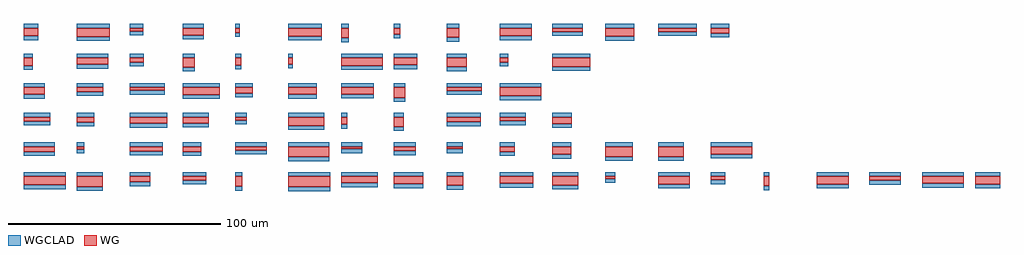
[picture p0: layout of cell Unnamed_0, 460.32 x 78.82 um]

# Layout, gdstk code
import gdstk
lib = gdstk.Library(unit=1e-6, precision=1e-09)
def R(c, l, rs):  # rectangles x0, y0, x1, y1
    for r in rs: c.add(gdstk.rectangle(r[:2], r[2:], *l))
WG = (1, 0)
WGCLAD = (111, 0)

straight_cssym_f7fe636c_ = lib.new_cell('straight_CSsym_f7fe636c_2326_L8690')
R(straight_cssym_f7fe636c_, WG, [(0,-1.163,8.69,1.163)])
R(straight_cssym_f7fe636c_, WGCLAD, [(0,-3.163,8.69,-1.163), (0,1.163,8.69,3.163)])

c_straight_cssym_f7fe636c_ = lib.new_cell('straight_CSsym_f7fe636c_1686_L18151')
R(c_straight_cssym_f7fe636c_, WG, [(0,-0.843,18.151,0.843)])
R(c_straight_cssym_f7fe636c_, WGCLAD, [(0,-2.843,18.151,-0.843), (0,0.843,18.151,2.843)])

c_straight_cssym_f7fe636c__ = lib.new_cell('straight_CSsym_f7fe636c_3872_L13737')
R(c_straight_cssym_f7fe636c__, WG, [(0,-1.936,13.737,1.936)])
R(c_straight_cssym_f7fe636c__, WGCLAD, [(0,-3.936,13.737,-1.936), (0,1.936,13.737,3.936)])

c_straight_cssym_f7fe636c___ = lib.new_cell('straight_CSsym_f7fe636c_1618_L14330')
R(c_straight_cssym_f7fe636c___, WG, [(0,-0.809,14.33,0.809)])
R(c_straight_cssym_f7fe636c___, WGCLAD, [(0,-2.809,14.33,-0.809), (0,0.809,14.33,2.809)])

c_straight_cssym_f7fe636c____ = lib.new_cell('straight_CSsym_f7fe636c_3650_L15184')
R(c_straight_cssym_f7fe636c____, WG, [(0,-1.825,15.184,1.825)])
R(c_straight_cssym_f7fe636c____, WGCLAD, [(0,-3.825,15.184,-1.825), (0,1.825,15.184,3.825)])

c_straight_cssym_f7fe636c_____ = lib.new_cell('straight_CSsym_f7fe636c_4304_L5908')
R(c_straight_cssym_f7fe636c_____, WG, [(0,-2.152,5.908,2.152)])
R(c_straight_cssym_f7fe636c_____, WGCLAD, [(0,-4.152,5.908,-2.152), (0,2.152,5.908,4.152)])

c_straight_cssym_f7fe636c______ = lib.new_cell('straight_CSsym_f7fe636c_2752_L3083')
R(c_straight_cssym_f7fe636c______, WG, [(0,-1.376,3.083,1.376)])
R(c_straight_cssym_f7fe636c______, WGCLAD, [(0,-3.376,3.083,-1.376), (0,1.376,3.083,3.376)])

c_straight_cssym_f7fe636c_______ = lib.new_cell('straight_CSsym_f7fe636c_4622_L3591')
R(c_straight_cssym_f7fe636c_______, WG, [(0,-2.311,3.591,2.311)])
R(c_straight_cssym_f7fe636c_______, WGCLAD, [(0,-4.311,3.591,-2.311), (0,2.311,3.591,4.311)])

c_straight_cssym_f7fe636c________ = lib.new_cell('straight_CSsym_f7fe636c_3716_L15720')
R(c_straight_cssym_f7fe636c________, WG, [(0,-1.858,15.72,1.858)])
R(c_straight_cssym_f7fe636c________, WGCLAD, [(0,-3.858,15.72,-1.858), (0,1.858,15.72,3.858)])

c_straight_cssym_f7fe636c_________ = lib.new_cell('straight_CSsym_f7fe636c_2152_L2047')
R(c_straight_cssym_f7fe636c_________, WG, [(0,-1.076,2.047,1.076)])
R(c_straight_cssym_f7fe636c_________, WGCLAD, [(0,-3.076,2.047,-1.076), (0,1.076,2.047,3.076)])

c_straight_cssym_f7fe636c__________ = lib.new_cell('straight_CSsym_f7fe636c_3236_L10107')
R(c_straight_cssym_f7fe636c__________, WG, [(0,-1.618,10.107,1.618)])
R(c_straight_cssym_f7fe636c__________, WGCLAD, [(0,-3.618,10.107,-1.618), (0,1.618,10.107,3.618)])

c_straight_cssym_f7fe636c___________ = lib.new_cell('straight_CSsym_f7fe636c_1362_L6302')
R(c_straight_cssym_f7fe636c___________, WG, [(0,-0.681,6.302,0.681)])
R(c_straight_cssym_f7fe636c___________, WGCLAD, [(0,-2.681,6.302,-0.681), (0,0.681,6.302,2.681)])

c_straight_cssym_f7fe636c____________ = lib.new_cell('straight_CSsym_f7fe636c_4024_L15525')
R(c_straight_cssym_f7fe636c____________, WG, [(0,-2.012,15.525,2.012)])
R(c_straight_cssym_f7fe636c____________, WGCLAD, [(0,-4.012,15.525,-2.012), (0,2.012,15.525,4.012)])

c_straight_cssym_f7fe636c_____________ = lib.new_cell('straight_CSsym_f7fe636c_3684_L6605')
R(c_straight_cssym_f7fe636c_____________, WG, [(0,-1.842,6.605,1.842)])
R(c_straight_cssym_f7fe636c_____________, WGCLAD, [(0,-3.842,6.605,-1.842), (0,1.842,6.605,3.842)])

c_straight_cssym_f7fe636c______________ = lib.new_cell('straight_CSsym_f7fe636c_4208_L17797')
R(c_straight_cssym_f7fe636c______________, WG, [(0,-2.104,17.797,2.104)])
R(c_straight_cssym_f7fe636c______________, WGCLAD, [(0,-4.104,17.797,-2.104), (0,2.104,17.797,4.104)])

c_straight_cssym_f7fe636c_______________ = lib.new_cell('straight_CSsym_f7fe636c_2086_L4031')
R(c_straight_cssym_f7fe636c_______________, WG, [(0,-1.043,4.031,1.043)])
R(c_straight_cssym_f7fe636c_______________, WGCLAD, [(0,-3.043,4.031,-1.043), (0,1.043,4.031,3.043)])

c_straight_cssym_f7fe636c________________ = lib.new_cell('straight_CSsym_f7fe636c_4280_L9495')
R(c_straight_cssym_f7fe636c________________, WG, [(0,-2.14,9.495,2.14)])
R(c_straight_cssym_f7fe636c________________, WGCLAD, [(0,-4.14,9.495,-2.14), (0,2.14,9.495,4.14)])

c_straight_cssym_f7fe636c_________________ = lib.new_cell('straight_CSsym_f7fe636c_3292_L10967')
R(c_straight_cssym_f7fe636c_________________, WG, [(0,-1.646,10.967,1.646)])
R(c_straight_cssym_f7fe636c_________________, WGCLAD, [(0,-3.646,10.967,-1.646), (0,1.646,10.967,3.646)])

c_straight_cssym_f7fe636c__________________ = lib.new_cell('straight_CSsym_f7fe636c_3656_L19746')
R(c_straight_cssym_f7fe636c__________________, WG, [(0,-1.828,19.746,1.828)])
R(c_straight_cssym_f7fe636c__________________, WGCLAD, [(0,-3.828,19.746,-1.828), (0,1.828,19.746,3.828)])

c_straight_cssym_f7fe636c___________________ = lib.new_cell('straight_CSsym_f7fe636c_2990_L2232')
R(c_straight_cssym_f7fe636c___________________, WG, [(0,-1.495,2.232,1.495)])
R(c_straight_cssym_f7fe636c___________________, WGCLAD, [(0,-3.495,2.232,-1.495), (0,1.495,2.232,3.495)])

c_straight_cssym_f7fe636c____________________ = lib.new_cell('straight_CSsym_f7fe636c_2294_L7191')
R(c_straight_cssym_f7fe636c____________________, WG, [(0,-1.147,7.191,1.147)])
R(c_straight_cssym_f7fe636c____________________, WGCLAD, [(0,-3.147,7.191,-1.147), (0,1.147,7.191,3.147)])

c_straight_cssym_f7fe636c_____________________ = lib.new_cell('straight_CSsym_f7fe636c_3476_L2841')
R(c_straight_cssym_f7fe636c_____________________, WG, [(0,-1.738,2.841,1.738)])
R(c_straight_cssym_f7fe636c_____________________, WGCLAD, [(0,-3.738,2.841,-1.738), (0,1.738,2.841,3.738)])

c_straight_cssym_f7fe636c______________________ = lib.new_cell('straight_CSsym_f7fe636c_3194_L15464')
R(c_straight_cssym_f7fe636c______________________, WG, [(0,-1.597,15.464,1.597)])
R(c_straight_cssym_f7fe636c______________________, WGCLAD, [(0,-3.597,15.464,-1.597), (0,1.597,15.464,3.597)])

c_straight_cssym_f7fe636c_______________________ = lib.new_cell('straight_CSsym_f7fe636c_1002_L7547')
R(c_straight_cssym_f7fe636c_______________________, WG, [(0,-0.501,7.547,0.501)])
R(c_straight_cssym_f7fe636c_______________________, WGCLAD, [(0,-2.501,7.547,-0.501), (0,0.501,7.547,2.501)])

c_straight_cssym_f7fe636c________________________ = lib.new_cell('straight_CSsym_f7fe636c_4106_L17048')
R(c_straight_cssym_f7fe636c________________________, WG, [(0,-2.053,17.048,2.053)])
R(c_straight_cssym_f7fe636c________________________, WGCLAD, [(0,-4.053,17.048,-2.053), (0,2.053,17.048,4.053)])

c_straight_cssym_f7fe636c_________________________ = lib.new_cell('straight_CSsym_f7fe636c_3240_L13459')
R(c_straight_cssym_f7fe636c_________________________, WG, [(0,-1.62,13.459,1.62)])
R(c_straight_cssym_f7fe636c_________________________, WGCLAD, [(0,-3.62,13.459,-1.62), (0,1.62,13.459,3.62)])

c_straight_cssym_f7fe636c__________________________ = lib.new_cell('straight_CSsym_f7fe636c_2044_L10358')
R(c_straight_cssym_f7fe636c__________________________, WG, [(0,-1.022,10.358,1.022)])
R(c_straight_cssym_f7fe636c__________________________, WGCLAD, [(0,-3.022,10.358,-1.022), (0,1.022,10.358,3.022)])

c_straight_cssym_f7fe636c___________________________ = lib.new_cell('straight_CSsym_f7fe636c_1480_L5459')
R(c_straight_cssym_f7fe636c___________________________, WG, [(0,-0.74,5.459,0.74)])
R(c_straight_cssym_f7fe636c___________________________, WGCLAD, [(0,-2.74,5.459,-0.74), (0,0.74,5.459,2.74)])

c_straight_cssym_f7fe636c____________________________ = lib.new_cell('straight_CSsym_f7fe636c_2680_L8179')
R(c_straight_cssym_f7fe636c____________________________, WG, [(0,-1.34,8.179,1.34)])
R(c_straight_cssym_f7fe636c____________________________, WGCLAD, [(0,-3.34,8.179,-1.34), (0,1.34,8.179,3.34)])

c_straight_cssym_f7fe636c_____________________________ = lib.new_cell('straight_CSsym_f7fe636c_1096_L10129')
R(c_straight_cssym_f7fe636c_____________________________, WG, [(0,-0.548,10.129,0.548)])
R(c_straight_cssym_f7fe636c_____________________________, WGCLAD, [(0,-2.548,10.129,-0.548), (0,0.548,10.129,2.548)])

c_straight_cssym_f7fe636c______________________________ = lib.new_cell('straight_CSsym_f7fe636c_4532_L2700')
R(c_straight_cssym_f7fe636c______________________________, WG, [(0,-2.266,2.7,2.266)])
R(c_straight_cssym_f7fe636c______________________________, WGCLAD, [(0,-4.266,2.7,-2.266), (0,2.266,2.7,4.266)])

c_straight_cssym_f7fe636c_______________________________ = lib.new_cell('straight_CSsym_f7fe636c_2926_L12294')
R(c_straight_cssym_f7fe636c_______________________________, WG, [(0,-1.463,12.294,1.463)])
R(c_straight_cssym_f7fe636c_______________________________, WGCLAD, [(0,-3.463,12.294,-1.463), (0,1.463,12.294,3.463)])

c_straight_cssym_f7fe636c________________________________ = lib.new_cell('straight_CSsym_f7fe636c_3454_L17615')
R(c_straight_cssym_f7fe636c________________________________, WG, [(0,-1.727,17.615,1.727)])
R(c_straight_cssym_f7fe636c________________________________, WGCLAD, [(0,-3.727,17.615,-1.727), (0,1.727,17.615,3.727)])

c_straight_cssym_f7fe636c_________________________________ = lib.new_cell('straight_CSsym_f7fe636c_4794_L19483')
R(c_straight_cssym_f7fe636c_________________________________, WG, [(0,-2.397,19.483,2.397)])
R(c_straight_cssym_f7fe636c_________________________________, WGCLAD, [(0,-4.397,19.483,-2.397), (0,2.397,19.483,4.397)])

c_straight_cssym_f7fe636c__________________________________ = lib.new_cell('straight_CSsym_f7fe636c_1754_L6701')
R(c_straight_cssym_f7fe636c__________________________________, WG, [(0,-0.877,6.701,0.877)])
R(c_straight_cssym_f7fe636c__________________________________, WGCLAD, [(0,-2.877,6.701,-0.877), (0,0.877,6.701,2.877)])

c_straight_cssym_f7fe636c___________________________________ = lib.new_cell('straight_CSsym_f7fe636c_2950_L17769')
R(c_straight_cssym_f7fe636c___________________________________, WG, [(0,-1.475,17.769,1.475)])
R(c_straight_cssym_f7fe636c___________________________________, WGCLAD, [(0,-3.475,17.769,-1.475), (0,1.475,17.769,3.475)])

c_straight_cssym_f7fe636c____________________________________ = lib.new_cell('straight_CSsym_f7fe636c_1626_L14869')
R(c_straight_cssym_f7fe636c____________________________________, WG, [(0,-0.813,14.869,0.813)])
R(c_straight_cssym_f7fe636c____________________________________, WGCLAD, [(0,-2.813,14.869,-0.813), (0,0.813,14.869,2.813)])

c_straight_cssym_f7fe636c_____________________________________ = lib.new_cell('straight_CSsym_f7fe636c_3690_L15051')
R(c_straight_cssym_f7fe636c_____________________________________, WG, [(0,-1.845,15.051,1.845)])
R(c_straight_cssym_f7fe636c_____________________________________, WGCLAD, [(0,-3.845,15.051,-1.845), (0,1.845,15.051,3.845)])

c_straight_cssym_f7fe636c______________________________________ = lib.new_cell('straight_CSsym_f7fe636c_2458_L8222')
R(c_straight_cssym_f7fe636c______________________________________, WG, [(0,-1.229,8.222,1.229)])
R(c_straight_cssym_f7fe636c______________________________________, WGCLAD, [(0,-3.229,8.222,-1.229), (0,1.229,8.222,3.229)])

c_straight_cssym_f7fe636c_______________________________________ = lib.new_cell('straight_CSsym_f7fe636c_2340_L8909')
R(c_straight_cssym_f7fe636c_______________________________________, WG, [(0,-1.17,8.909,1.17)])
R(c_straight_cssym_f7fe636c_______________________________________, WGCLAD, [(0,-3.17,8.909,-1.17), (0,1.17,8.909,3.17)])

c_straight_cssym_f7fe636c________________________________________ = lib.new_cell('straight_CSsym_f7fe636c_1156_L4827')
R(c_straight_cssym_f7fe636c________________________________________, WG, [(0,-0.578,4.827,0.578)])
R(c_straight_cssym_f7fe636c________________________________________, WGCLAD, [(0,-2.578,4.827,-0.578), (0,0.578,4.827,2.578)])

c_straight_cssym_f7fe636c_________________________________________ = lib.new_cell('straight_CSsym_f7fe636c_1906_L12357')
R(c_straight_cssym_f7fe636c_________________________________________, WG, [(0,-0.953,12.357,0.953)])
R(c_straight_cssym_f7fe636c_________________________________________, WGCLAD, [(0,-2.953,12.357,-0.953), (0,0.953,12.357,2.953)])

c_straight_cssym_f7fe636c__________________________________________ = lib.new_cell('straight_CSsym_f7fe636c_4064_L19576')
R(c_straight_cssym_f7fe636c__________________________________________, WG, [(0,-2.032,19.576,2.032)])
R(c_straight_cssym_f7fe636c__________________________________________, WGCLAD, [(0,-4.032,19.576,-2.032), (0,2.032,19.576,4.032)])

c_straight_cssym_f7fe636c___________________________________________ = lib.new_cell('straight_CSsym_f7fe636c_4914_L12319')
R(c_straight_cssym_f7fe636c___________________________________________, WG, [(0,-2.457,12.319,2.457)])
R(c_straight_cssym_f7fe636c___________________________________________, WGCLAD, [(0,-4.457,12.319,-2.457), (0,2.457,12.319,4.457)])

c_straight_cssym_f7fe636c____________________________________________ = lib.new_cell('straight_CSsym_f7fe636c_2690_L9654')
R(c_straight_cssym_f7fe636c____________________________________________, WG, [(0,-1.345,9.654,1.345)])
R(c_straight_cssym_f7fe636c____________________________________________, WGCLAD, [(0,-3.345,9.654,-1.345), (0,1.345,9.654,3.345)])

c_straight_cssym_f7fe636c_____________________________________________ = lib.new_cell('straight_CSsym_f7fe636c_1788_L11165')
R(c_straight_cssym_f7fe636c_____________________________________________, WG, [(0,-0.894,11.165,0.894)])
R(c_straight_cssym_f7fe636c_____________________________________________, WGCLAD, [(0,-2.894,11.165,-0.894), (0,0.894,11.165,2.894)])

c_straight_cssym_f7fe636c______________________________________________ = lib.new_cell('straight_CSsym_f7fe636c_4818_L3324')
R(c_straight_cssym_f7fe636c______________________________________________, WG, [(0,-2.409,3.324,2.409)])
R(c_straight_cssym_f7fe636c______________________________________________, WGCLAD, [(0,-4.409,3.324,-2.409), (0,2.409,3.324,4.409)])

c_straight_cssym_f7fe636c_______________________________________________ = lib.new_cell('straight_CSsym_f7fe636c_3660_L15186')
R(c_straight_cssym_f7fe636c_______________________________________________, WG, [(0,-1.83,15.186,1.83)])
R(c_straight_cssym_f7fe636c_______________________________________________, WGCLAD, [(0,-3.83,15.186,-1.83), (0,1.83,15.186,3.83)])

c_straight_cssym_f7fe636c________________________________________________ = lib.new_cell('straight_CSsym_f7fe636c_4970_L19920')
R(c_straight_cssym_f7fe636c________________________________________________, WG, [(0,-2.485,19.92,2.485)])
R(c_straight_cssym_f7fe636c________________________________________________, WGCLAD, [(0,-4.485,19.92,-2.485), (0,2.485,19.92,4.485)])

c_straight_cssym_f7fe636c_________________________________________________ = lib.new_cell('straight_CSsym_f7fe636c_1982_L14837')
R(c_straight_cssym_f7fe636c_________________________________________________, WG, [(0,-0.991,14.837,0.991)])
R(c_straight_cssym_f7fe636c_________________________________________________, WGCLAD, [(0,-2.991,14.837,-0.991), (0,0.991,14.837,2.991)])

c_straight_cssym_f7fe636c__________________________________________________ = lib.new_cell('straight_CSsym_f7fe636c_3060_L17260')
R(c_straight_cssym_f7fe636c__________________________________________________, WG, [(0,-1.53,17.26,1.53)])
R(c_straight_cssym_f7fe636c__________________________________________________, WGCLAD, [(0,-3.53,17.26,-1.53), (0,1.53,17.26,3.53)])

c_straight_cssym_f7fe636c___________________________________________________ = lib.new_cell('straight_CSsym_f7fe636c_3374_L19578')
R(c_straight_cssym_f7fe636c___________________________________________________, WG, [(0,-1.687,19.578,1.687)])
R(c_straight_cssym_f7fe636c___________________________________________________, WGCLAD, [(0,-3.687,19.578,-1.687), (0,1.687,19.578,3.687)])

c_straight_cssym_f7fe636c____________________________________________________ = lib.new_cell('straight_CSsym_f7fe636c_3562_L13798')
R(c_straight_cssym_f7fe636c____________________________________________________, WG, [(0,-1.781,13.798,1.781)])
R(c_straight_cssym_f7fe636c____________________________________________________, WGCLAD, [(0,-3.781,13.798,-1.781), (0,1.781,13.798,3.781)])

c_straight_cssym_f7fe636c_____________________________________________________ = lib.new_cell('straight_CSsym_f7fe636c_3664_L11765')
R(c_straight_cssym_f7fe636c_____________________________________________________, WG, [(0,-1.832,11.765,1.832)])
R(c_straight_cssym_f7fe636c_____________________________________________________, WGCLAD, [(0,-3.832,11.765,-1.832), (0,1.832,11.765,3.832)])

c_straight_cssym_f7fe636c______________________________________________________ = lib.new_cell('straight_CSsym_f7fe636c_4338_L7881')
R(c_straight_cssym_f7fe636c______________________________________________________, WG, [(0,-2.169,7.881,2.169)])
R(c_straight_cssym_f7fe636c______________________________________________________, WGCLAD, [(0,-4.169,7.881,-2.169), (0,2.169,7.881,4.169)])

c_straight_cssym_f7fe636c_______________________________________________________ = lib.new_cell('straight_CSsym_f7fe636c_2360_L14620')
R(c_straight_cssym_f7fe636c_______________________________________________________, WG, [(0,-1.18,14.62,1.18)])
R(c_straight_cssym_f7fe636c_______________________________________________________, WGCLAD, [(0,-3.18,14.62,-1.18), (0,1.18,14.62,3.18)])

c_straight_cssym_f7fe636c________________________________________________________ = lib.new_cell('straight_CSsym_f7fe636c_3400_L15904')
R(c_straight_cssym_f7fe636c________________________________________________________, WG, [(0,-1.7,15.904,1.7)])
R(c_straight_cssym_f7fe636c________________________________________________________, WGCLAD, [(0,-3.7,15.904,-1.7), (0,1.7,15.904,3.7)])

c_straight_cssym_f7fe636c_________________________________________________________ = lib.new_cell('straight_CSsym_f7fe636c_1174_L3445')
R(c_straight_cssym_f7fe636c_________________________________________________________, WG, [(0,-0.587,3.445,0.587)])
R(c_straight_cssym_f7fe636c_________________________________________________________, WGCLAD, [(0,-2.587,3.445,-0.587), (0,0.587,3.445,2.587)])

c_straight_cssym_f7fe636c__________________________________________________________ = lib.new_cell('straight_CSsym_f7fe636c_4720_L12018')
R(c_straight_cssym_f7fe636c__________________________________________________________, WG, [(0,-2.36,12.018,2.36)])
R(c_straight_cssym_f7fe636c__________________________________________________________, WGCLAD, [(0,-4.36,12.018,-2.36), (0,2.36,12.018,4.36)])

c_straight_cssym_f7fe636c___________________________________________________________ = lib.new_cell('straight_CSsym_f7fe636c_4148_L12118')
R(c_straight_cssym_f7fe636c___________________________________________________________, WG, [(0,-2.074,12.118,2.074)])
R(c_straight_cssym_f7fe636c___________________________________________________________, WGCLAD, [(0,-4.074,12.118,-2.074), (0,2.074,12.118,4.074)])

c_straight_cssym_f7fe636c____________________________________________________________ = lib.new_cell('straight_CSsym_f7fe636c_2150_L15551')
R(c_straight_cssym_f7fe636c____________________________________________________________, WG, [(0,-1.075,15.551,1.075)])
R(c_straight_cssym_f7fe636c____________________________________________________________, WGCLAD, [(0,-3.075,15.551,-1.075), (0,1.075,15.551,3.075)])

c_straight_cssym_f7fe636c_____________________________________________________________ = lib.new_cell('straight_CSsym_f7fe636c_3556_L19539')
R(c_straight_cssym_f7fe636c_____________________________________________________________, WG, [(0,-1.778,19.539,1.778)])
R(c_straight_cssym_f7fe636c_____________________________________________________________, WGCLAD, [(0,-3.778,19.539,-1.778), (0,1.778,19.539,3.778)])

c_straight_cssym_f7fe636c______________________________________________________________ = lib.new_cell('straight_CSsym_f7fe636c_3600_L8849')
R(c_straight_cssym_f7fe636c______________________________________________________________, WG, [(0,-1.8,8.849,1.8)])
R(c_straight_cssym_f7fe636c______________________________________________________________, WGCLAD, [(0,-3.8,8.849,-1.8), (0,1.8,8.849,3.8)])

c_straight_cssym_f7fe636c_______________________________________________________________ = lib.new_cell('straight_CSsym_f7fe636c_4504_L4580')
R(c_straight_cssym_f7fe636c_______________________________________________________________, WG, [(0,-2.252,4.58,2.252)])
R(c_straight_cssym_f7fe636c_______________________________________________________________, WGCLAD, [(0,-4.252,4.58,-2.252), (0,2.252,4.58,4.252)])

c_straight_cssym_f7fe636c________________________________________________________________ = lib.new_cell('straight_CSsym_f7fe636c_4864_L5418')
R(c_straight_cssym_f7fe636c________________________________________________________________, WG, [(0,-2.432,5.418,2.432)])
R(c_straight_cssym_f7fe636c________________________________________________________________, WGCLAD, [(0,-4.432,5.418,-2.432), (0,2.432,5.418,4.432)])

c_straight_cssym_f7fe636c_________________________________________________________________ = lib.new_cell('straight_CSsym_f7fe636c_4722_L13089')
R(c_straight_cssym_f7fe636c_________________________________________________________________, WG, [(0,-2.361,13.089,2.361)])
R(c_straight_cssym_f7fe636c_________________________________________________________________, WGCLAD, [(0,-4.361,13.089,-2.361), (0,2.361,13.089,4.361)])

c_straight_cssym_f7fe636c__________________________________________________________________ = lib.new_cell('straight_CSsym_f7fe636c_2310_L15963')
R(c_straight_cssym_f7fe636c__________________________________________________________________, WG, [(0,-1.155,15.963,1.155)])
R(c_straight_cssym_f7fe636c__________________________________________________________________, WGCLAD, [(0,-3.155,15.963,-1.155), (0,1.155,15.963,3.155)])

c_straight_cssym_f7fe636c___________________________________________________________________ = lib.new_cell('straight_CSsym_f7fe636c_1524_L16485')
R(c_straight_cssym_f7fe636c___________________________________________________________________, WG, [(0,-0.762,16.485,0.762)])
R(c_straight_cssym_f7fe636c___________________________________________________________________, WGCLAD, [(0,-2.762,16.485,-0.762), (0,0.762,16.485,2.762)])

c_straight_cssym_f7fe636c____________________________________________________________________ = lib.new_cell('straight_CSsym_f7fe636c_1854_L12363')
R(c_straight_cssym_f7fe636c____________________________________________________________________, WG, [(0,-0.927,12.363,0.927)])
R(c_straight_cssym_f7fe636c____________________________________________________________________, WGCLAD, [(0,-2.927,12.363,-0.927), (0,0.927,12.363,2.927)])

c_straight_cssym_f7fe636c_____________________________________________________________________ = lib.new_cell('straight_CSsym_f7fe636c_3980_L19740')
R(c_straight_cssym_f7fe636c_____________________________________________________________________, WG, [(0,-1.99,19.74,1.99)])
R(c_straight_cssym_f7fe636c_____________________________________________________________________, WGCLAD, [(0,-3.99,19.74,-1.99), (0,1.99,19.74,3.99)])

c_straight_cssym_f7fe636c______________________________________________________________________ = lib.new_cell('straight_CSsym_f7fe636c_3160_L9248')
R(c_straight_cssym_f7fe636c______________________________________________________________________, WG, [(0,-1.58,9.248,1.58)])
R(c_straight_cssym_f7fe636c______________________________________________________________________, WGCLAD, [(0,-3.58,9.248,-1.58), (0,1.58,9.248,3.58)])

c_straight_cssym_f7fe636c_______________________________________________________________________ = lib.new_cell('straight_CSsym_f7fe636c_3704_L4167')
R(c_straight_cssym_f7fe636c_______________________________________________________________________, WG, [(0,-1.852,4.167,1.852)])
R(c_straight_cssym_f7fe636c_______________________________________________________________________, WGCLAD, [(0,-3.852,4.167,-1.852), (0,1.852,4.167,3.852)])

c_straight_cssym_f7fe636c________________________________________________________________________ = lib.new_cell('straight_CSsym_f7fe636c_3282_L9682')
R(c_straight_cssym_f7fe636c________________________________________________________________________, WG, [(0,-1.641,9.682,1.641)])
R(c_straight_cssym_f7fe636c________________________________________________________________________, WGCLAD, [(0,-3.641,9.682,-1.641), (0,1.641,9.682,3.641)])

c_straight_cssym_f7fe636c_________________________________________________________________________ = lib.new_cell('straight_CSsym_f7fe636c_3064_L14791')
R(c_straight_cssym_f7fe636c_________________________________________________________________________, WG, [(0,-1.532,14.791,1.532)])
R(c_straight_cssym_f7fe636c_________________________________________________________________________, WGCLAD, [(0,-3.532,14.791,-1.532), (0,1.532,14.791,3.532)])

c_straight_cssym_f7fe636c__________________________________________________________________________ = lib.new_cell('straight_CSsym_f7fe636c_1960_L12403')
R(c_straight_cssym_f7fe636c__________________________________________________________________________, WG, [(0,-0.98,12.403,0.98)])
R(c_straight_cssym_f7fe636c__________________________________________________________________________, WGCLAD, [(0,-2.98,12.403,-0.98), (0,0.98,12.403,2.98)])

c_straight_cssym_f7fe636c___________________________________________________________________________ = lib.new_cell('straight_CSsym_f7fe636c_2014_L6744')
R(c_straight_cssym_f7fe636c___________________________________________________________________________, WG, [(0,-1.007,6.744,1.007)])
R(c_straight_cssym_f7fe636c___________________________________________________________________________, WGCLAD, [(0,-3.007,6.744,-1.007), (0,1.007,6.744,3.007)])

c_straight_cssym_f7fe636c____________________________________________________________________________ = lib.new_cell('straight_CSsym_f7fe636c_1356_L16532')
R(c_straight_cssym_f7fe636c____________________________________________________________________________, WG, [(0,-0.678,16.532,0.678)])
R(c_straight_cssym_f7fe636c____________________________________________________________________________, WGCLAD, [(0,-2.678,16.532,-0.678), (0,0.678,16.532,2.678)])

c_straight_cssym_f7fe636c_____________________________________________________________________________ = lib.new_cell('straight_CSsym_f7fe636c_4354_L5881')
R(c_straight_cssym_f7fe636c_____________________________________________________________________________, WG, [(0,-2.177,5.881,2.177)])
R(c_straight_cssym_f7fe636c_____________________________________________________________________________, WGCLAD, [(0,-4.177,5.881,-2.177), (0,2.177,5.881,4.177)])

c_straight_cssym_f7fe636c______________________________________________________________________________ = lib.new_cell('straight_CSsym_f7fe636c_3482_L2763')
R(c_straight_cssym_f7fe636c______________________________________________________________________________, WG, [(0,-1.741,2.763,1.741)])
R(c_straight_cssym_f7fe636c______________________________________________________________________________, WGCLAD, [(0,-3.741,2.763,-1.741), (0,1.741,2.763,3.741)])

unnamed_0 = lib.new_cell('Unnamed_0')
unnamed_0.add(gdstk.Reference(straight_cssym_f7fe636c_, (336.42,73.672)))
unnamed_0.add(gdstk.Reference(c_straight_cssym_f7fe636c_, (311.5,73.992)))
unnamed_0.add(gdstk.Reference(c_straight_cssym_f7fe636c__, (286.58,72.899)))
unnamed_0.add(gdstk.Reference(c_straight_cssym_f7fe636c___, (261.66,74.026)))
unnamed_0.add(gdstk.Reference(c_straight_cssym_f7fe636c____, (236.74,73.01)))
unnamed_0.add(gdstk.Reference(c_straight_cssym_f7fe636c_____, (211.82,72.683)))
unnamed_0.add(gdstk.Reference(c_straight_cssym_f7fe636c______, (186.9,73.459)))
unnamed_0.add(gdstk.Reference(c_straight_cssym_f7fe636c_______, (161.98,72.524)))
unnamed_0.add(gdstk.Reference(c_straight_cssym_f7fe636c________, (137.06,72.977)))
unnamed_0.add(gdstk.Reference(c_straight_cssym_f7fe636c_________, (112.14,73.759)))
unnamed_0.add(gdstk.Reference(c_straight_cssym_f7fe636c__________, (87.22,73.217)))
unnamed_0.add(gdstk.Reference(c_straight_cssym_f7fe636c___________, (62.3,74.154)))
unnamed_0.add(gdstk.Reference(c_straight_cssym_f7fe636c____________, (37.38,72.823)))
unnamed_0.add(gdstk.Reference(c_straight_cssym_f7fe636c_____________, (12.46,72.993)))
unnamed_0.add(gdstk.Reference(c_straight_cssym_f7fe636c______________, (261.66,58.761)))
unnamed_0.add(gdstk.Reference(c_straight_cssym_f7fe636c_______________, (236.74,59.822)))
unnamed_0.add(gdstk.Reference(c_straight_cssym_f7fe636c________________, (211.82,58.725)))
unnamed_0.add(gdstk.Reference(c_straight_cssym_f7fe636c_________________, (186.9,59.219)))
unnamed_0.add(gdstk.Reference(c_straight_cssym_f7fe636c__________________, (161.98,59.037)))
unnamed_0.add(gdstk.Reference(c_straight_cssym_f7fe636c___________________, (137.06,59.37)))
unnamed_0.add(gdstk.Reference(c_straight_cssym_f7fe636c____________________, (236.74,17.808)))
unnamed_0.add(gdstk.Reference(c_straight_cssym_f7fe636c_____________________, (161.98,31.187)))
unnamed_0.add(gdstk.Reference(c_straight_cssym_f7fe636c______________________, (161.98,45.298)))
unnamed_0.add(gdstk.Reference(c_straight_cssym_f7fe636c_______________________, (211.82,18.454)))
unnamed_0.add(gdstk.Reference(c_straight_cssym_f7fe636c________________________, (137.06,30.872)))
unnamed_0.add(gdstk.Reference(c_straight_cssym_f7fe636c_________________________, (137.06,45.275)))
unnamed_0.add(gdstk.Reference(c_straight_cssym_f7fe636c__________________________, (186.9,17.933)))
unnamed_0.add(gdstk.Reference(c_straight_cssym_f7fe636c___________________________, (112.14,32.185)))
unnamed_0.add(gdstk.Reference(c_straight_cssym_f7fe636c____________________________, (112.14,45.555)))
unnamed_0.add(gdstk.Reference(c_straight_cssym_f7fe636c_____________________________, (161.98,18.407)))
unnamed_0.add(gdstk.Reference(c_straight_cssym_f7fe636c______________________________, (361.34,2.719)))
unnamed_0.add(gdstk.Reference(c_straight_cssym_f7fe636c_______________________________, (87.22,31.462)))
unnamed_0.add(gdstk.Reference(c_straight_cssym_f7fe636c________________________________, (87.22,45.168)))
unnamed_0.add(gdstk.Reference(c_straight_cssym_f7fe636c_________________________________, (137.06,16.558)))
unnamed_0.add(gdstk.Reference(c_straight_cssym_f7fe636c__________________________________, (336.42,4.108)))
unnamed_0.add(gdstk.Reference(c_straight_cssym_f7fe636c___________________________________, (62.3,31.45)))
unnamed_0.add(gdstk.Reference(c_straight_cssym_f7fe636c____________________________________, (112.14,18.142)))
unnamed_0.add(gdstk.Reference(c_straight_cssym_f7fe636c_____________________________________, (311.5,3.14)))
unnamed_0.add(gdstk.Reference(c_straight_cssym_f7fe636c______________________________________, (37.38,31.696)))
unnamed_0.add(gdstk.Reference(c_straight_cssym_f7fe636c_______________________________________, (87.22,17.785)))
unnamed_0.add(gdstk.Reference(c_straight_cssym_f7fe636c________________________________________, (286.58,4.407)))
unnamed_0.add(gdstk.Reference(c_straight_cssym_f7fe636c_________________________________________, (12.46,31.972)))
unnamed_0.add(gdstk.Reference(c_straight_cssym_f7fe636c__________________________________________, (12.46,2.953)))
unnamed_0.add(gdstk.Reference(c_straight_cssym_f7fe636c___________________________________________, (37.38,2.528)))
unnamed_0.add(gdstk.Reference(c_straight_cssym_f7fe636c____________________________________________, (62.3,3.64)))
unnamed_0.add(gdstk.Reference(c_straight_cssym_f7fe636c_____________________________________________, (87.22,4.091)))
unnamed_0.add(gdstk.Reference(c_straight_cssym_f7fe636c______________________________________________, (112.14,2.576)))
unnamed_0.add(gdstk.Reference(c_straight_cssym_f7fe636c_______________________________________________, (386.26,3.155)))
unnamed_0.add(gdstk.Reference(c_straight_cssym_f7fe636c________________________________________________, (137.06,2.5)))
unnamed_0.add(gdstk.Reference(c_straight_cssym_f7fe636c_________________________________________________, (411.18,3.994)))
unnamed_0.add(gdstk.Reference(c_straight_cssym_f7fe636c__________________________________________________, (161.98,3.455)))
unnamed_0.add(gdstk.Reference(c_straight_cssym_f7fe636c___________________________________________________, (436.1,3.298)))
unnamed_0.add(gdstk.Reference(c_straight_cssym_f7fe636c____________________________________________________, (186.9,3.204)))
unnamed_0.add(gdstk.Reference(c_straight_cssym_f7fe636c_____________________________________________________, (461.02,3.153)))
unnamed_0.add(gdstk.Reference(c_straight_cssym_f7fe636c______________________________________________________, (211.82,2.816)))
unnamed_0.add(gdstk.Reference(c_straight_cssym_f7fe636c_______________________________________________________, (12.46,17.775)))
unnamed_0.add(gdstk.Reference(c_straight_cssym_f7fe636c________________________________________________________, (236.74,3.285)))
unnamed_0.add(gdstk.Reference(c_straight_cssym_f7fe636c_________________________________________________________, (37.38,18.368)))
unnamed_0.add(gdstk.Reference(c_straight_cssym_f7fe636c__________________________________________________________, (311.5,16.595)))
unnamed_0.add(gdstk.Reference(c_straight_cssym_f7fe636c___________________________________________________________, (261.66,2.911)))
unnamed_0.add(gdstk.Reference(c_straight_cssym_f7fe636c____________________________________________________________, (62.3,17.88)))
unnamed_0.add(gdstk.Reference(c_straight_cssym_f7fe636c_____________________________________________________________, (336.42,17.177)))
unnamed_0.add(gdstk.Reference(c_straight_cssym_f7fe636c______________________________________________________________, (261.66,17.155)))
unnamed_0.add(gdstk.Reference(c_straight_cssym_f7fe636c_______________________________________________________________, (186.9,30.673)))
unnamed_0.add(gdstk.Reference(c_straight_cssym_f7fe636c________________________________________________________________, (186.9,44.463)))
unnamed_0.add(gdstk.Reference(c_straight_cssym_f7fe636c_________________________________________________________________, (286.58,16.594)))
unnamed_0.add(gdstk.Reference(c_straight_cssym_f7fe636c__________________________________________________________________, (211.82,31.77)))
unnamed_0.add(gdstk.Reference(c_straight_cssym_f7fe636c___________________________________________________________________, (211.82,46.133)))
unnamed_0.add(gdstk.Reference(c_straight_cssym_f7fe636c____________________________________________________________________, (236.74,31.998)))
unnamed_0.add(gdstk.Reference(c_straight_cssym_f7fe636c_____________________________________________________________________, (236.74,44.905)))
unnamed_0.add(gdstk.Reference(c_straight_cssym_f7fe636c______________________________________________________________________, (261.66,31.345)))
unnamed_0.add(gdstk.Reference(c_straight_cssym_f7fe636c_______________________________________________________________________, (12.46,59.013)))
unnamed_0.add(gdstk.Reference(c_straight_cssym_f7fe636c________________________________________________________________________, (12.46,45.254)))
unnamed_0.add(gdstk.Reference(c_straight_cssym_f7fe636c_________________________________________________________________________, (37.38,59.333)))
unnamed_0.add(gdstk.Reference(c_straight_cssym_f7fe636c__________________________________________________________________________, (37.38,45.915)))
unnamed_0.add(gdstk.Reference(c_straight_cssym_f7fe636c___________________________________________________________________________, (62.3,59.858)))
unnamed_0.add(gdstk.Reference(c_straight_cssym_f7fe636c____________________________________________________________________________, (62.3,46.217)))
unnamed_0.add(gdstk.Reference(c_straight_cssym_f7fe636c_____________________________________________________________________________, (87.22,58.688)))
unnamed_0.add(gdstk.Reference(c_straight_cssym_f7fe636c______________________________________________________________________________, (112.14,59.124)))

lib.write_gds('Unnamed_0.gds')
